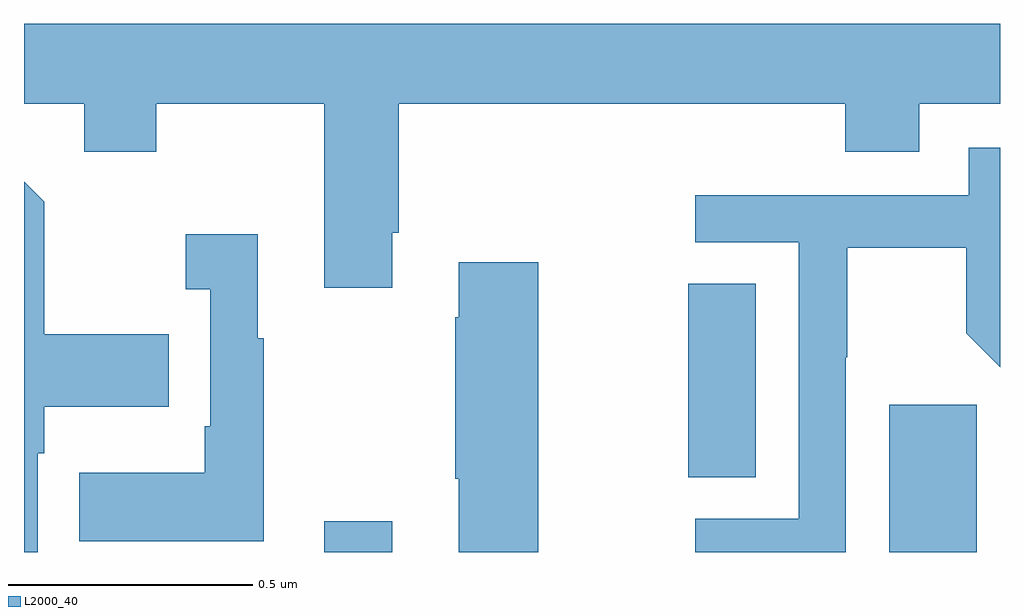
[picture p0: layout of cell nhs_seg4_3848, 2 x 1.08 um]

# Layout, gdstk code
import gdstk
lib = gdstk.Library(unit=1e-6, precision=1e-09)
def R(c, l, rs):  # rectangles x0, y0, x1, y1
    for r in rs: c.add(gdstk.rectangle(r[:2], r[2:], *l))
def P(c, l, *ps):  # polygons
    for p in ps: c.add(gdstk.Polygon(p, *l))
L2000_40 = (2000, 40)

nhs_seg4_3848 = lib.new_cell('nhs_seg4_3848')
R(nhs_seg4_3848, L2000_40, [(158.615,795.9,158.755,795.964), (159.773,795.9,159.952,796.203), (159.361,796.054,159.499,796.451)])
P(nhs_seg4_3848, L2000_40, [(158.755,796.555),(158.768,796.555),(158.768,796.82),(159.683,796.82),(159.683,796.721),(159.835,796.721),(159.835,796.82),(160,796.82),(160,796.984),(158,796.984),(158,796.82),(158.123,796.82),(158.123,796.721),(158.271,796.721),(158.271,796.82),(158.615,796.82),(158.615,796.443),(158.755,796.443)],
  [(159.684,796.3),(159.687,796.3),(159.687,796.524),(159.931,796.524),(159.931,796.349),(160,796.28),(160,796.729),(159.936,796.729),(159.936,796.632),(159.375,796.632),(159.375,796.536),(159.588,796.536),(159.588,795.969),(159.375,795.969),(159.375,795.9),(159.684,795.9)],
  [(158.028,796.103),(158.041,796.103),(158.041,796.199),(158.297,796.199),(158.297,796.347),(158.041,796.347),(158.041,796.619),(158,796.66),(158,795.9),(158.028,795.9)],
  [(158.491,796.339),(158.479,796.339),(158.479,796.552),(158.331,796.552),(158.331,796.439),(158.382,796.439),(158.382,796.159),(158.37,796.159),(158.37,796.063),(158.113,796.063),(158.113,795.923),(158.491,795.923)],
  [(159.054,796.495),(158.891,796.495),(158.891,796.382),(158.884,796.382),(158.884,796.051),(158.891,796.051),(158.891,795.9),(159.054,795.9)])

lib.write_gds('nhs_seg4_3848.gds')
